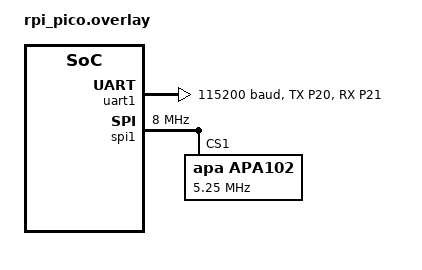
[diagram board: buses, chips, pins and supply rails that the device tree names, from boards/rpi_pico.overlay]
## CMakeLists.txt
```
# Copyright (c) 2024 BiologIC Technologies Ltd
# Mass Gas Flow module


cmake_minimum_required(VERSION 3.20.0)


find_package(Zephyr REQUIRED HINTS ${ZEPHYR_BASE})
project(dotstar)

target_include_directories(app PRIVATE ${CMAKE_BINARY_DIR}/dotstar/include src)

target_sources(app PRIVATE src/main.c)
```

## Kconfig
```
# This file is the application Kconfig entry point. All application Kconfig
# options can be defined here or included via other application Kconfig files.
# You can browse these options using the west targets menuconfig (terminal) or
# guiconfig (GUI).

menu "Zephyr"
source "Kconfig.zephyr"
endmenu

module = DOTSTAR
module-str = DOTSTAR
source "subsys/logging/Kconfig.template.log_config"
```

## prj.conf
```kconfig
# Config file for gas dosing module
CONFIG_DEBUG_OPTIMIZATIONS=y
CONFIG_CONSOLE=y


CONFIG_UART_CONSOLE=y


CONFIG_BOOT_BANNER=y
CONFIG_SERIAL=y
CONFIG_HWINFO=y
CONFIG_REBOOT=y
CONFIG_HWINFO_SHELL=y
CONFIG_LOG=y

CONFIG_PRINTK=y

CONFIG_SHELL=y

CONFIG_GPIO=y
CONFIG_GPIO_SHELL=y

CONFIG_SPI=y
CONFIG_LED_STRIP=y
CONFIG_THREAD_NAME=y
```

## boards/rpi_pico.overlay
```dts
/ {
	chosen {
		zephyr,console = &uart1;
		zephyr,shell-uart = &uart1;
	};
};


&uart1{
	current-speed = <115200>;
	status = "okay";
	pinctrl-0 = <&uart1_default>;
	pinctrl-names = "default";
};

&pinctrl {
	uart1_default: uart1_default {
		group1 {
			pinmux = <UART1_TX_P20>;
		};
		group2 {
			pinmux = <UART1_RX_P21>;
			input-enable;
		};
	};
};

spistrip: &spi1 {
	clock-frequency = <DT_FREQ_M(8)>;
	status = "okay";
	pinctrl-0 = <&spi1_default>;
	pinctrl-names = "default";

	apa102: apa102@1 {
		compatible = "apa,apa102";
		reg = <1>;
		spi-max-frequency = <5250000>;
	};
};
```

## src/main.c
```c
/*
 * Copyright (c) 2017 Linaro Limited
 * Copyright (c) 2018 Intel Corporation
 * Copyright (c) 2024 TOKITA Hiroshi
 *
 * SPDX-License-Identifier: Apache-2.0
 */

#include <string.h>

#define LOG_LEVEL 4

#include <zephyr/logging/log.h>

LOG_MODULE_REGISTER(main);

#include <zephyr/kernel.h>
#include <zephyr/drivers/led_strip.h>
#include <zephyr/device.h>
#include <zephyr/sys/util.h>
#include <zephyr/shell/shell.h>
#include <stdlib.h>
#include <math.h>


#define STRIP_NODE        DT_NODELABEL(apa102)


#define STRIP_NUM_PIXELS    130

/* size of stack area used by each thread */
#define STACKSIZE 1024

/* scheduling priority used by each thread */
#define PRIORITY 7

#define DELAY_TIME 100


#define RGB(_r, _g, _b) { .r = (_r), .g = (_g), .b = (_b) }

static const struct led_rgb colors[] = {
        RGB(0x0f, 0x00, 0x00), /* red */
        RGB(0x00, 0x0f, 0x00), /* green */
        RGB(0x00, 0x00, 0x0f), /* blue */
};

static struct led_rgb pixels[STRIP_NUM_PIXELS];

static const struct device *const strip = DEVICE_DT_GET(STRIP_NODE);

enum strip_state {
    off,
    on,
    fire,
    rainbow,
    moving_rainbow
};

enum strip_state state = off;

// Struct to represent a color in RGB format
typedef struct {
    uint8_t r;
    uint8_t g;
    uint8_t b;
} Color;

float hueToRGB(float p, float q, float t) {
    if (t < 0) t += 1;
    if (t > 1) t -= 1;
    if (t < 1.0/6) return p + (q - p) * 6 * t;
    if (t < 1.0/2) return q;
    if (t < 2.0/3) return p + (q - p) * (2.0/3 - t) * 6;
    return p;
}

// Function for converting HSL values to an RGB color
Color HSLtoRGB(float hue, float saturation, float lightness) {
    float r, g, b;

    if (saturation == 0)
    {
        r = g = b = lightness; // Achromatic color (gray scale)
    }
    else
    {
        float q = lightness < 0.5 ? lightness * (1 + saturation) : lightness + saturation - lightness * saturation;
        float p = 2 * lightness - q;
        r = hueToRGB(p, q, hue + 1.0/3);
        g = hueToRGB(p, q, hue);
        b = hueToRGB(p, q, hue - 1.0/3);
    }

    Color color = { r * 255, g * 255, b * 255 };
    return color;
}



void white_dimmer(int percentage) {
    if (percentage <= 0 || percentage > 100) {
        LOG_ERR("Invalid percentage. It must be between 1 and 100.");
        return;
    }
    int intensity = 255 * percentage / 100;

    struct led_rgb new_rgb = {
            .r = intensity,
            .g = intensity,
            .b = intensity
    };

    // Assign the new color to every pixel
    for (int i = 0; i < STRIP_NUM_PIXELS; i++) {
        memcpy(&pixels[i], &new_rgb, sizeof(struct led_rgb));
    }

    //Update the strip to display the new color
    int rc = led_strip_update_rgb(strip, pixels, STRIP_NUM_PIXELS);
    if (rc) {
        LOG_ERR("couldn't update strip: %d", rc);
    }

}

void led_controller(void *p1, void *p2, void *p3) {
    size_t color = 0;
    int rc;

    while (1) {
        if (state == off) {
            memset(&pixels, 0x00, sizeof(pixels));
            rc = led_strip_update_rgb(strip, pixels, STRIP_NUM_PIXELS);
            if (rc) {
                LOG_ERR("couldn't update strip: %d", rc);
            }
            k_sleep(K_MSEC(100));
        } else if (state == fire) {
            for (size_t cursor = 0; cursor < ARRAY_SIZE(pixels); cursor++) {
                if(state != fire){return;}
                memset(&pixels, 0x00, sizeof(pixels));
                memcpy(&pixels[cursor], &colors[color], sizeof(struct led_rgb));

                rc = led_strip_update_rgb(strip, pixels, STRIP_NUM_PIXELS);
                if (rc) {
                    LOG_ERR("couldn't update strip: %d", rc);
                }

                k_sleep(K_MSEC(DELAY_TIME));
            }

            color = (color + 1) % ARRAY_SIZE(colors);
            k_sleep(K_MSEC(100));
        }
        else if (state == rainbow){


            // clear everything once before we set the colors
            memset(pixels, 0x00, sizeof(pixels));

            for (size_t cursor = 0; cursor < ARRAY_SIZE(pixels); cursor++) {
                float hue = (float) cursor / STRIP_NUM_PIXELS;

                // Calculate the color based on the hue
                Color color = HSLtoRGB(hue, 1, 0.2);

                // Set the color
                pixels[cursor].r = color.r;
                pixels[cursor].g = color.g;
                pixels[cursor].b = color.b;
            }

            // Update the strip once after all colors are set
            int rc = led_strip_update_rgb(strip, pixels, STRIP_NUM_PIXELS);
            if (rc) {
                LOG_ERR("Couldn't update strip: %d", rc);
            }
            k_sleep(K_MSEC(100));
        } else if (state == moving_rainbow){


            // Initialize offset outside loop where this block of code is.
            static size_t offset = 0;

            // clear everything once before we set the colors
            memset(pixels, 0x00, sizeof(pixels));

            for (size_t cursor = 0; cursor < ARRAY_SIZE(pixels); cursor++) {
                float hue = (float) (cursor + offset) / STRIP_NUM_PIXELS;

                // wrap hue back to 0 once it exceeds 1
                if (hue > 1.0f) {
                    hue -= 1.0f;
                }

                // Calculate the color based on the hue
                Color color = HSLtoRGB(hue, 1, 0.5);

                // Set the color
                pixels[cursor].r = color.r;
                pixels[cursor].g = color.g;
                pixels[cursor].b = color.b;
            }

            // Update the strip after all colors are set
            int rc = led_strip_update_rgb(strip, pixels, STRIP_NUM_PIXELS);
            if (rc) {
                LOG_ERR("Couldn't update strip: %d", rc);
            }

            // increment offset for next time to give the moving effect
            offset = (offset + 1) % STRIP_NUM_PIXELS;
            k_sleep(K_MSEC(10));
        } else {
            k_sleep(K_MSEC(100));
        }

    }
}

K_THREAD_DEFINE(my_controller_id, STACKSIZE,
                led_controller, NULL, NULL, NULL,
                PRIORITY, 0, 0);
extern const k_tid_t my_controller_id;

int main(void) {
    if (device_is_ready(strip)) {
        LOG_INF("Found LED strip device %s", strip->name);
    } else {
        LOG_ERR("LED strip device %s is not ready", strip->name);
        return 0;
    }

    return 0;
}


/* Shell commands */
static int cmd_white_dimmer(const struct shell *shell, size_t argc, char **argv) {
    if (argc != 2) {
        shell_print(shell, "Incorrect number of arguments. Usage: %s <percentage>", argv[0]);
        return -1;
    }

    int percentage = atoi(argv[1]);

    state = on;
    white_dimmer(percentage);

    return 0;
}

static int cmd_toggle_fire(){
    if (state != fire) {
        state = fire;
    } else {
        state = off;
    }
}

static int cmd_toggle_rainbow(){
    if (state != rainbow) {
        state = rainbow;
    } else {
        state = off;
    }
}

static int cmd_toggle_moving_rainbow(){
    if (state != moving_rainbow) {
        state = moving_rainbow;
    } else {
        state = off;
    }
}

static int cmd_off(){
    state = off;
}

SHELL_STATIC_SUBCMD_SET_CREATE(sub_white_dimmer,
                               SHELL_CMD_ARG(set_dimmer, NULL, "Control white light intensity", cmd_white_dimmer, 2, 0),
                               SHELL_CMD(off, NULL, "Turn off", cmd_off),
                               SHELL_CMD(fire, NULL, "Toggle rgb firing", cmd_toggle_fire),
                               SHELL_CMD(rainbow, NULL, "Toggle rainbow", cmd_toggle_rainbow),
                               SHELL_CMD(move_rainbow, NULL, "Toggle moving rainbow", cmd_toggle_moving_rainbow),
                               SHELL_SUBCMD_SET_END // Array terminated.
);
SHELL_CMD_REGISTER(dimmer, &sub_white_dimmer, "Commands to control white light intensity", NULL);
```
